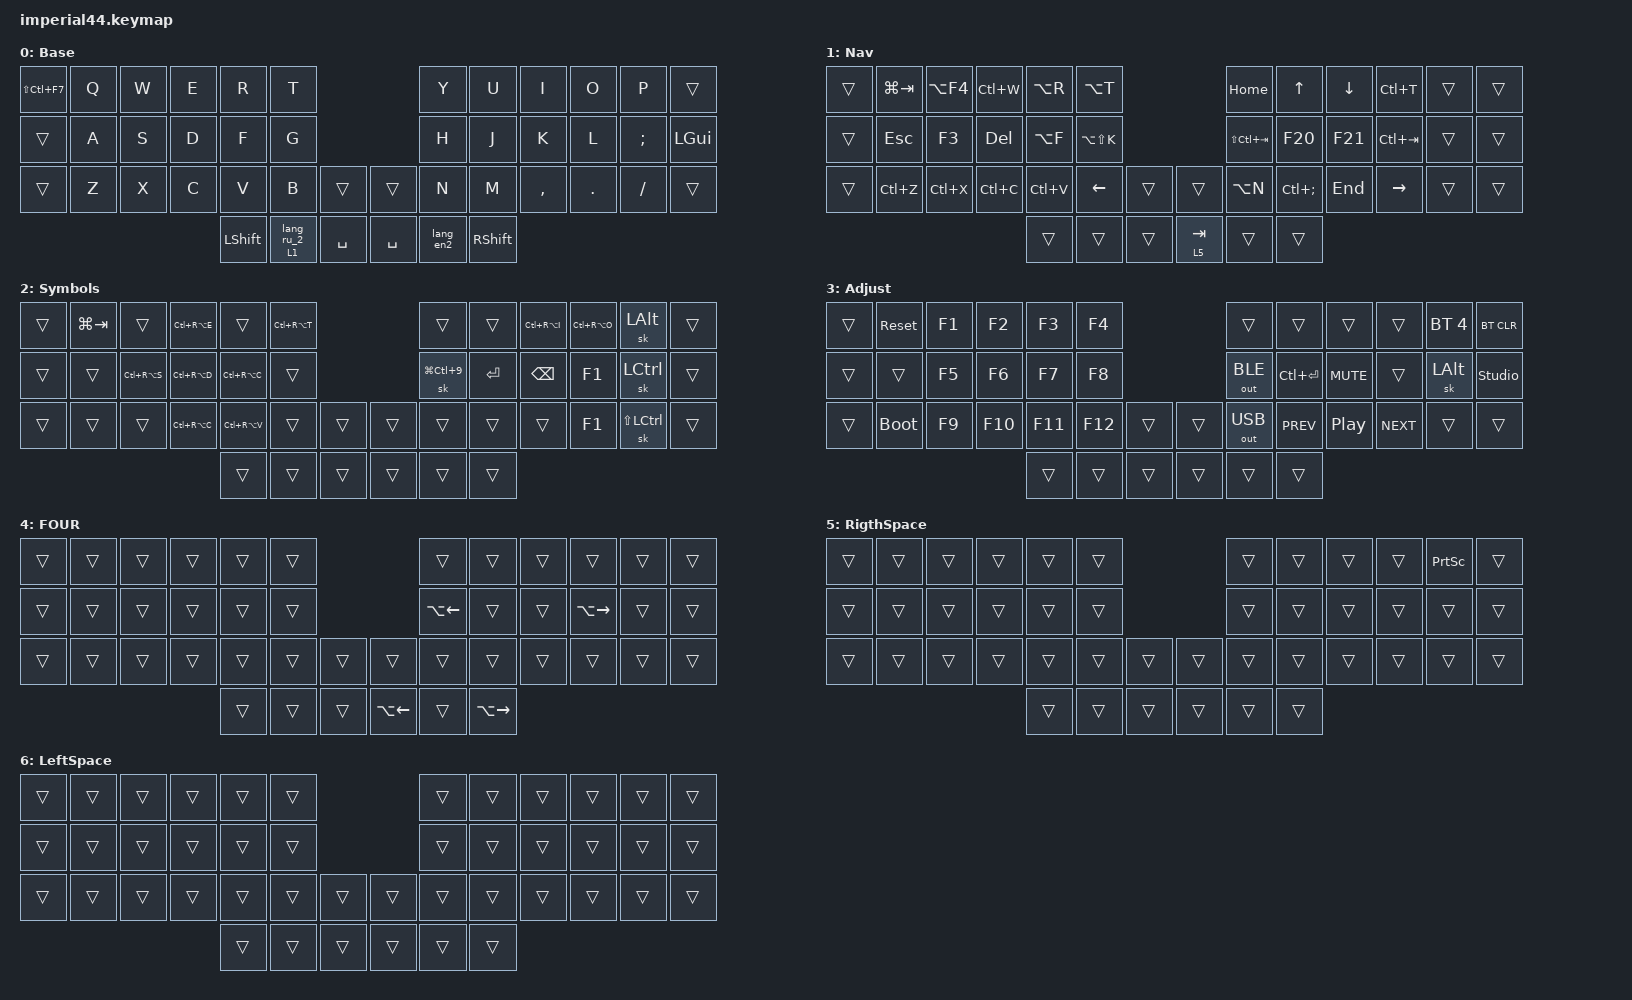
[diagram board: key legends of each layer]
#include "keys_ru.h"
#include <behaviors.dtsi>
#include <dt-bindings/zmk/bt.h>
#include <dt-bindings/zmk/keys.h>
#include <dt-bindings/zmk/outputs.h>

/ {
    combos {
        compatible = "zmk,combos";

        ha {
            bindings = <&kp RU_CYRILLIC_HA>;
            key-positions = <8 9>;
        };

        ee {
            bindings = <&kp RU_CYRILLIC_E>;
            key-positions = <20 21>;
        };

        hs {
            bindings = <&kp RU_CYRILLIC_HARD_SIGN>;
            key-positions = <34 35>;
        };

        nav-l_shift {
            bindings = <&mo 4>;
            key-positions = <39 40>;
            layers = <0>;
        };
    };

    behaviors {
        tap_sl_hold_kp: tap_sl_hold_kp {
            compatible = "zmk,behavior-hold-tap";
            label = "TAP_SL_HOLD_KP";
            bindings = <&kp>, <&sl>;

            #binding-cells = <2>;
            tapping-term-ms = <200>;
        };

        hold_tap_lang: hold_tap_lang {
            compatible = "zmk,behavior-hold-tap";
            label = "HOLD_TAP_LANG";
            bindings = <&mo>, <&kp>;

            #binding-cells = <2>;
            flavor = "hold-preferred";
            tapping-term-ms = <150>;
        };

        hold_tap_lang_2: hold_tap_lang_2 {
            compatible = "zmk,behavior-hold-tap";
            label = "HOLD_TAP_LANG_2";
            bindings = <&mo>, <&lang_ru_2>;

            #binding-cells = <2>;
            flavor = "hold-preferred";
            tapping-term-ms = <200>;
            retro-tap;
        };
    };

    macros {
        lang_ru: lang_ru {
            compatible = "zmk,behavior-macro";
            #binding-cells = <0>;
            bindings =
                <&kp LC(LS(NUMBER_2))>,
                <&macro_press>,
                <&mo 1>,
                <&macro_pause_for_release>,
                <&macro_release>,
                <&mo 1>;

            label = "LANG_RU";
        };

        lang_en: lang_en {
            compatible = "zmk,behavior-macro";
            #binding-cells = <0>;
            bindings =
                <&kp LC(LS(N1))>,
                <&macro_press>,
                <&mo 2>,
                <&macro_pause_for_release>,
                <&macro_release>,
                <&mo 2>;

            label = "LANG_EN";
            wait-ms = <0>;
            tap-ms = <0>;
        };

        lang_en2: lang_en2 {
            compatible = "zmk,behavior-macro";
            #binding-cells = <0>;
            bindings =
                <&macro_press>,
                <&kp LC(LS(N1))>,
                <&macro_release>,
                <&kp LC(LS(N1))>,
                <&macro_press>,
                <&mo 2>,
                <&macro_pause_for_release>,
                <&macro_release>,
                <&mo 2>;

            label = "LANG_EN2";
            wait-ms = <0>;
            tap-ms = <0>;
        };

        lang_en2_ru_edit: lang_en2_ru_edit {
            compatible = "zmk,behavior-macro";
            #binding-cells = <0>;
            bindings =
                <&macro_press>,
                <&kp LC(LS(NUMBER_2))>,
                <&macro_release>,
                <&kp LC(LS(NUMBER_2))>,
                <&macro_press>,
                <&mo 1>,
                <&macro_pause_for_release>,
                <&macro_release>,
                <&mo 1>;

            label = "LANG_EN2_RU_EDIT";
            wait-ms = <0>;
            tap-ms = <0>;
        };

        lang_ru_2: lang_ru_2 {
            compatible = "zmk,behavior-macro";
            #binding-cells = <0>;
            bindings = <&kp LC(LS(NUMBER_2))>;
            label = "LANG_RU_2";
        };
    };

    keymap {
        compatible = "zmk,keymap";

        base {
            bindings = <
&kp LS(LC(F7))  &kp Q  &kp W  &kp E  &kp R       &kp T                                         &kp Y      &kp U       &kp I      &kp O    &kp P      &trans
&trans          &kp A  &kp S  &kp D  &kp F       &kp G                                         &kp H      &kp J       &kp K      &kp L    &kp SEMI   &kp LGUI
&trans          &kp Z  &kp X  &kp C  &kp V       &kp B                 &trans       &trans     &kp N      &kp M       &kp COMMA  &kp DOT  &kp SLASH  &trans
                                     &kp LSHIFT  &hold_tap_lang_2 1 0  &kp SPACE    &kp SPACE  &lang_en2  &kp RSHIFT
            >;

            display-name = "Base";
        };

        nav {
            bindings = <
&trans  &kp LG(TAB)  &kp LA(F4)  &kp LC(W)   &kp LA(R)  &kp LA(T)                           &kp HOME         &kp UP        &kp DOWN  &kp LC(T)    &trans  &trans
&trans  &kp ESC      &kp F3      &kp DELETE  &kp LA(F)  &kp LA(LS(K))                       &kp LS(LC(TAB))  &kp F20       &kp F21   &kp LC(TAB)  &trans  &trans
&trans  &kp LC(Z)    &kp LC(X)   &kp LC(C)   &kp LC(V)  &kp LEFT       &trans    &trans     &kp LA(N)        &kp LC(SEMI)  &kp END   &kp RIGHT    &trans  &trans
                                             &trans     &trans         &trans    &lt 5 TAB  &trans           &trans
            >;

            display-name = "Nav";
        };

        sym {
            bindings = <
&trans  &kp LG(TAB)  &trans         &kp LC(RA(E))  &trans         &kp LC(RA(T))                    &trans                &trans     &kp LC(RA(I))  &kp LC(RA(O))  &sk LEFT_ALT   &trans
&trans  &trans       &kp LC(RA(S))  &kp LC(RA(D))  &kp LC(RA(C))  &trans                           &sk LG(LC(NUMBER_9))  &kp ENTER  &kp BACKSPACE  &kp F1         &sk LCTRL      &trans
&trans  &trans       &trans         &kp LC(RA(C))  &kp LC(RA(V))  &trans         &trans    &trans  &trans                &trans     &trans         &kp F1         &sk LS(LCTRL)  &trans
                                                   &trans         &trans         &trans    &trans  &trans                &trans
            >;

            display-name = "Symbols";
        };

        adj {
            bindings = <
&trans  &sys_reset   &kp F1  &kp F2   &kp F3   &kp F4                     &trans        &trans         &trans            &trans      &bt BT_SEL 4  &bt BT_CLR
&trans  &trans       &kp F5  &kp F6   &kp F7   &kp F8                     &out OUT_BLE  &kp LC(ENTER)  &kp C_MUTE        &trans      &sk LALT      &studio_unlock
&trans  &bootloader  &kp F9  &kp F10  &kp F11  &kp F12  &trans    &trans  &out OUT_USB  &kp C_PREV     &kp C_PLAY_PAUSE  &kp C_NEXT  &trans        &trans
                                      &trans   &trans   &trans    &trans  &trans        &trans
            >;

            display-name = "Adjust";
        };

        four {
            bindings = <
&trans  &trans  &trans  &trans  &trans  &trans                          &trans        &trans         &trans  &trans         &trans  &trans
&trans  &trans  &trans  &trans  &trans  &trans                          &kp LA(LEFT)  &trans         &trans  &kp LA(RIGHT)  &trans  &trans
&trans  &trans  &trans  &trans  &trans  &trans  &trans    &trans        &trans        &trans         &trans  &trans         &trans  &trans
                                &trans  &trans  &trans    &kp LA(LEFT)  &trans        &kp LA(RIGHT)
            >;

            label = "FOUR";
        };

        r_space {
            bindings = <
&trans  &trans  &trans  &trans  &trans  &trans                    &trans  &trans  &trans  &trans  &kp PRINTSCREEN  &trans
&trans  &trans  &trans  &trans  &trans  &trans                    &trans  &trans  &trans  &trans  &trans           &trans
&trans  &trans  &trans  &trans  &trans  &trans  &trans    &trans  &trans  &trans  &trans  &trans  &trans           &trans
                                &trans  &trans  &trans    &trans  &trans  &trans
            >;

            label = "RigthSpace";
        };

        l_space {
            bindings = <
&trans  &trans  &trans  &trans  &trans  &trans                    &trans  &trans  &trans  &trans  &trans  &trans
&trans  &trans  &trans  &trans  &trans  &trans                    &trans  &trans  &trans  &trans  &trans  &trans
&trans  &trans  &trans  &trans  &trans  &trans  &trans    &trans  &trans  &trans  &trans  &trans  &trans  &trans
                                &trans  &trans  &trans    &trans  &trans  &trans
            >;

            label = "LeftSpace";
        };
    };

    conditional_layers {
        compatible = "zmk,conditional-layers";

        cond_Adj {
            if-layers = <1 2>;
            then-layer = <3>;
        };
    };
};
